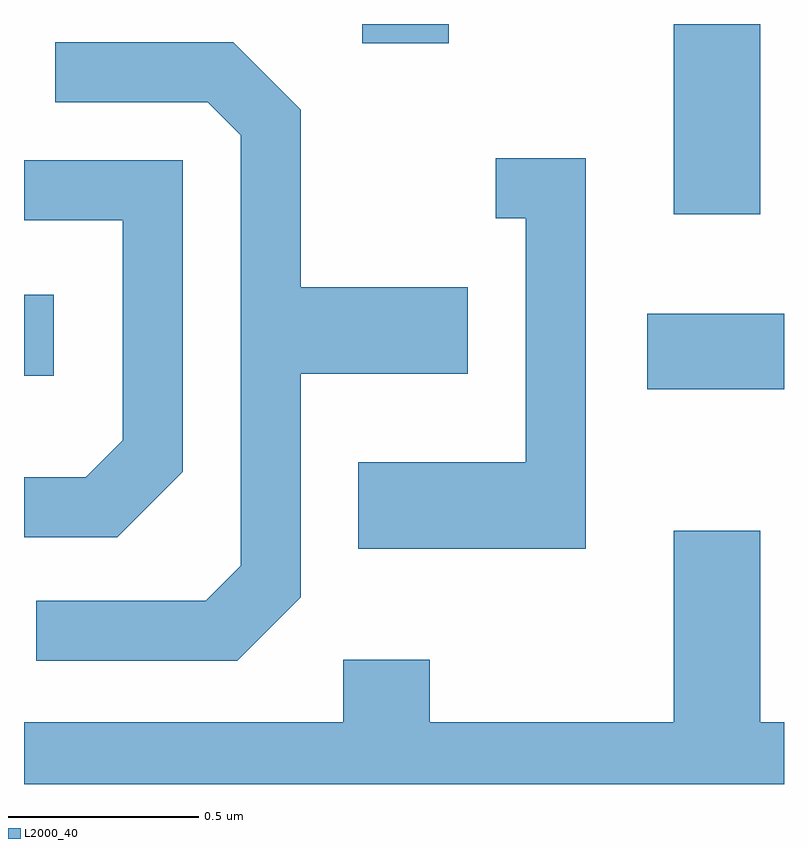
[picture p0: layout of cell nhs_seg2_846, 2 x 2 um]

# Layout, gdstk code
import gdstk
lib = gdstk.Library(unit=1e-6, precision=1e-09)
def R(c, l, rs):  # rectangles x0, y0, x1, y1
    for r in rs: c.add(gdstk.rectangle(r[:2], r[2:], *l))
def P(c, l, *ps):  # polygons
    for p in ps: c.add(gdstk.Polygon(p, *l))
L2000_40 = (2000, 40)

nhs_seg2_846 = lib.new_cell('nhs_seg2_846')
R(nhs_seg2_846, L2000_40, [(193.251,1002.841,193.611,1003.039), (191.611,1002.876,191.689,1003.089), (193.321,1003.301,193.549,1003.802), (192.501,1003.751,192.729,1003.802)])
P(nhs_seg2_846, L2000_40, [(192.339,1002.294),(192.339,1002.881),(192.779,1002.881),(192.779,1003.109),(192.339,1003.109),(192.339,1003.577),(192.162,1003.754),(191.693,1003.754),(191.693,1003.596),(192.094,1003.596),(192.181,1003.509),(192.181,1002.377),(192.089,1002.284),(191.643,1002.284),(191.643,1002.126),(192.172,1002.126)],
  [(193.089,1003.449),(192.853,1003.449),(192.853,1003.291),(192.931,1003.291),(192.931,1002.649),(192.491,1002.649),(192.491,1002.421),(193.089,1002.421)],
  [(192.029,1002.624),(192.029,1003.444),(191.611,1003.444),(191.611,1003.286),(191.871,1003.286),(191.871,1002.707),(191.774,1002.609),(191.611,1002.609),(191.611,1002.451),(191.857,1002.451)],
  [(193.611,1001.964),(193.549,1001.964),(193.549,1002.469),(193.321,1002.469),(193.321,1001.964),(192.679,1001.964),(192.679,1002.129),(192.451,1002.129),(192.451,1001.964),(191.611,1001.964),(191.611,1001.802),(193.611,1001.802)])

lib.write_gds('nhs_seg2_846.gds')
